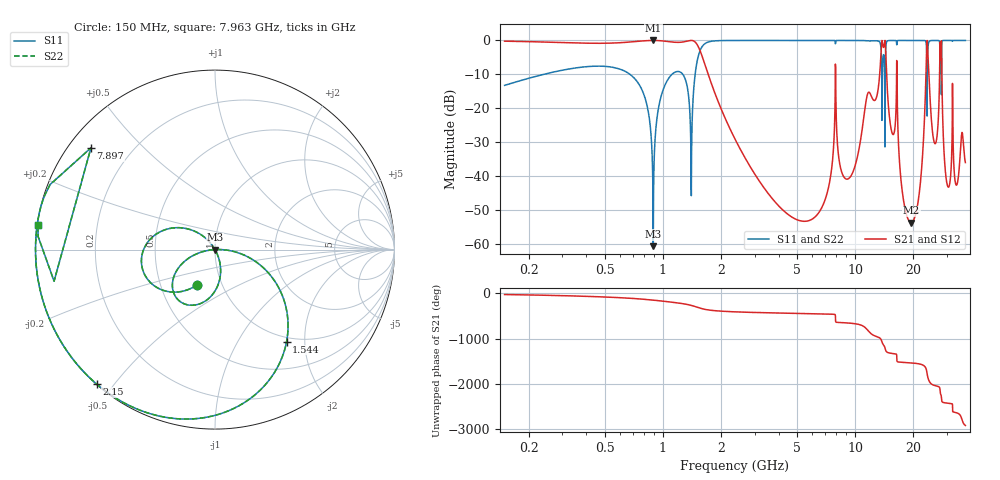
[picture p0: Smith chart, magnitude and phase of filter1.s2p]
! markimicrowave.com
! Date: Tue Mar 19 2024 11:41:49 GMT+0100 (Central European Standard Time)
# Hz S DB R 50.00
!Frequency  S11 dB  S11 Deg  S21 dB  S21 Deg  S12 dB  S12 Deg  S22 dB  S22 Deg
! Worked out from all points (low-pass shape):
!   2000 points, 150 MHz to 37.5 GHz, reference 50 ohm
!   highest |S21| = 0.00 dB at 890.9 MHz (marker M1); lowest = -53.7 dB at 19.59 GHz (marker M2)
!   |S21| within 3 dB of the highest: start of sweep to 1.56 GHz; 13.66 GHz to 14.42 GHz (761 MHz wide, 5.42 % of centre)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
!   lowest |S11| = -60.7 dB at 890.9 MHz (marker M3), VSWR 1.00, Z = 50 - j0.0805 ohm
!   |S11| at or under -10 dB: 674 MHz to 1.114 GHz (440.1 MHz wide, 49.2 % of centre); 1.269 GHz to 1.471 GHz (201.6 MHz wide, 14.7 % of centre); 13.75 GHz to 13.87 GHz (122.5 MHz wide, 0.887 % of centre)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
!   |S22| runs from -60.7 to 0.0 dB; largest |S21 - S12| = 0
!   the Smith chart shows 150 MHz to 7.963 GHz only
!   S11 on the Smith chart (normalised r, x): 150 MHz: 0.77, -0.31; 1.544 GHz: 0.92, -1.64; 2.15 GHz: 0.00, -0.45; 7.897 GHz: 0.06, +0.36; 7.963 GHz: 0.00, +0.07
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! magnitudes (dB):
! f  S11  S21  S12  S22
! 150 MHz  -13.2  -0.2  -0.2  -13.2
! 377.4 MHz  -7.9  -0.8  -0.8  -7.9
! 730.2 MHz  -12.0  -0.3  -0.3  -12.0
! 890.9 MHz  -60.7  0.0  0.0  -60.7
! 946.7 MHz  -20.2  0.0  0.0  -20.2
! 1.221 GHz  -9.2  -0.6  -0.6  -9.2
! 1.401 GHz  -39.6  0.0  0.0  -39.6
! 1.544 GHz  -3.7  -2.4  -2.4  -3.7
! 2.15 GHz  0.0  -24.0  -24.0  0.0
! 2.375 GHz  0.0  -29.1  -29.1  0.0
! 5.958 GHz  0.0  -52.8  -52.8  0.0
! 7.897 GHz  -1.0  -7.0  -7.0  -1.0
! 7.963 GHz  0.0  -20.5  -20.5  0.0
! 9.529 GHz  0.0  -39.9  -39.9  0.0
! 14.03 GHz  -4.3  -2.0  -2.0  -4.3
! 14.95 GHz  0.0  -20.1  -20.1  0.0
! 19.59 GHz  0.0  -53.7  -53.7  0.0
! 23.84 GHz  -4.3  -2.0  -2.0  -4.3
! 25.97 GHz  0.0  -30.4  -30.4  0.0
! 27.98 GHz  -1.4  -5.5  -5.5  -1.4
! 30.32 GHz  0.0  -43.0  -43.0  0.0
! 37.5 GHz  0.0  -36.0  -36.0  0.0
